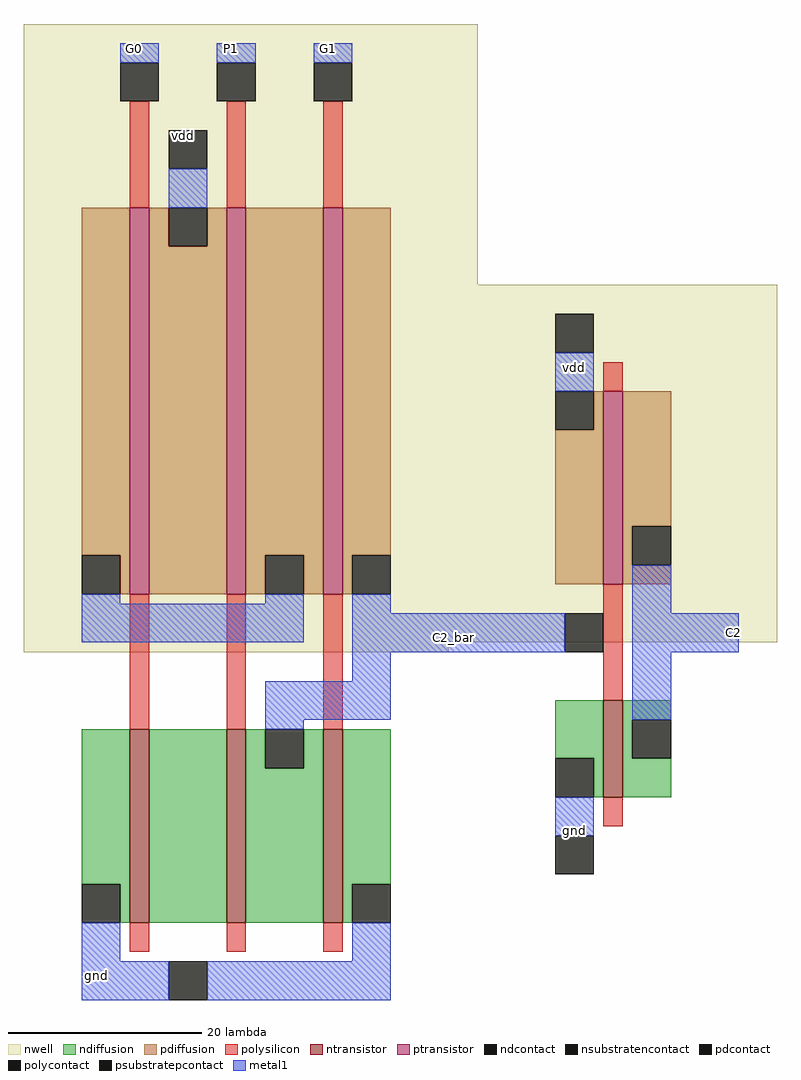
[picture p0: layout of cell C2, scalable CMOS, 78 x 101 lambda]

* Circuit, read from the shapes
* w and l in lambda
.subckt C2 C2_bar G0 G1 P1 gnd vdd
M1 n1 G0 gnd gnd nfet w=20 l=2
M2 C2_bar P1 n1 gnd nfet w=20 l=2
M3 gnd G1 C2_bar gnd nfet w=20 l=2
M4 n2 C2_bar gnd gnd nfet w=10 l=2
M5 vdd G0 n3 vdd pfet w=40 l=2
M6 n3 P1 vdd vdd pfet w=40 l=2
M7 C2_bar G1 n3 vdd pfet w=40 l=2
M8 n2 C2_bar vdd vdd pfet w=20 l=2
.ends

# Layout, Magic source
magic
tech scmos
<< nwell >>
rect -21 32 26 59
rect -21 -5 57 32
rect -21 -6 23 -5
<< ntransistor >>
rect -10 -34 -8 -14
rect 0 -34 2 -14
rect 10 -34 12 -14
rect 39 -21 41 -11
<< ptransistor >>
rect -10 0 -8 40
rect 0 0 2 40
rect 10 0 12 40
rect 39 1 41 21
<< ndiffusion >>
rect -15 -30 -10 -14
rect -11 -34 -10 -30
rect -8 -34 0 -14
rect 2 -18 4 -14
rect 8 -18 10 -14
rect 2 -34 10 -18
rect 12 -30 17 -14
rect 34 -17 39 -11
rect 38 -21 39 -17
rect 41 -13 46 -11
rect 41 -17 42 -13
rect 41 -21 46 -17
rect 12 -34 13 -30
<< pdiffusion >>
rect -15 4 -10 40
rect -11 0 -10 4
rect -8 36 -6 40
rect -2 36 0 40
rect -8 0 0 36
rect 2 4 10 40
rect 2 0 4 4
rect 8 0 10 4
rect 12 4 17 40
rect 12 0 13 4
rect 38 17 39 21
rect 34 1 39 17
rect 41 7 46 21
rect 41 3 42 7
rect 41 1 46 3
<< ndcontact >>
rect -15 -34 -11 -30
rect 4 -18 8 -14
rect 34 -21 38 -17
rect 42 -17 46 -13
rect 13 -34 17 -30
<< pdcontact >>
rect -15 0 -11 4
rect -6 36 -2 40
rect 4 0 8 4
rect 13 0 17 4
rect 34 17 38 21
rect 42 3 46 7
<< psubstratepcontact >>
rect 34 -29 38 -25
rect -6 -42 -2 -38
<< nsubstratencontact >>
rect -6 44 -2 48
rect 34 25 38 29
<< polysilicon >>
rect -10 40 -8 51
rect 0 40 2 51
rect 10 40 12 51
rect 39 21 41 24
rect -10 -14 -8 0
rect 0 -14 2 0
rect 10 -14 12 0
rect 39 -11 41 1
rect 39 -24 41 -21
rect -10 -37 -8 -34
rect 0 -37 2 -34
rect 10 -37 12 -34
<< polycontact >>
rect -11 51 -7 55
rect -1 51 3 55
rect 9 51 13 55
rect 35 -6 39 -2
<< metal1 >>
rect -11 55 -7 57
rect -1 55 3 57
rect 9 55 13 57
rect -6 40 -2 44
rect 34 21 38 25
rect -15 -1 -11 0
rect 4 -1 8 0
rect -15 -5 8 -1
rect 13 -2 17 0
rect 42 -2 46 3
rect 13 -6 35 -2
rect 42 -6 53 -2
rect 13 -9 17 -6
rect 4 -13 17 -9
rect 42 -13 46 -6
rect 4 -14 8 -13
rect 34 -25 38 -21
rect -15 -38 -11 -34
rect 13 -38 17 -34
rect -15 -42 -6 -38
rect -2 -42 17 -38
<< labels >>
rlabel metal1 -6 47 -3 48 5 vdd
rlabel metal1 -11 56 -8 57 5 G0
rlabel metal1 -1 56 2 57 5 P1
rlabel metal1 9 56 12 57 5 G1
rlabel metal1 34 23 38 24 1 vdd
rlabel metal1 34 -25 38 -24 1 gnd
rlabel metal1 21 -5 26 -4 1 C2_bar
rlabel metal1 52 -5 53 -3 7 C2
rlabel metal1 -15 -40 -12 -39 2 gnd
<< end >>
